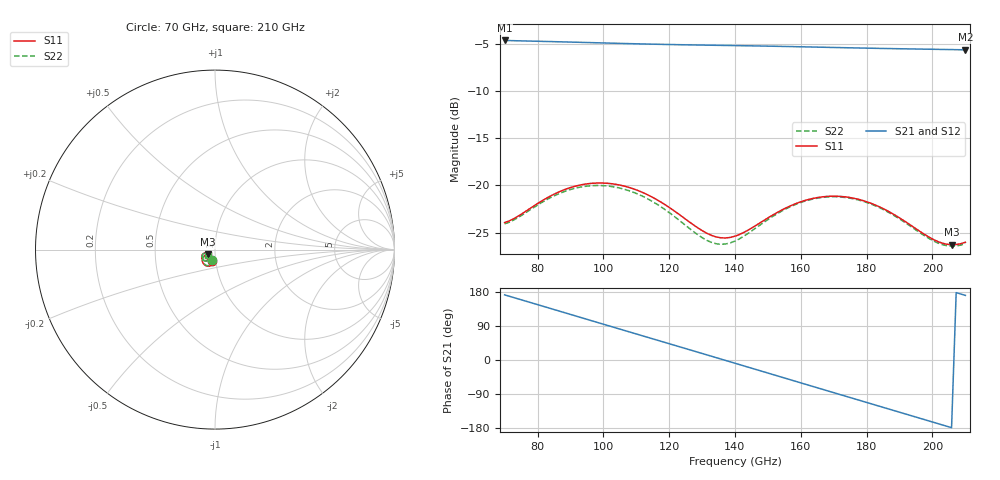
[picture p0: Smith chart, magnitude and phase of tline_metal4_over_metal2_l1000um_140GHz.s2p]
#  GHZ S DB R 50
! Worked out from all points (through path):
!   101 points, 70 GHz to 210 GHz, reference 50 ohm
!   highest |S21| = -4.67 dB at 70 GHz (marker M1); lowest = -5.7 dB at 210 GHz (marker M2)
!   group delay of S21, straight-line fit = 7.17 ps
!   lowest |S11| = -26.3 dB at 205.8 GHz (marker M3), VSWR 1.10, Z = 46 - j2.4 ohm
!   |S11| at or under -10 dB: start of sweep to end of sweep
!   |S22| runs from -26.4 to -20.0 dB; largest |S21 - S12| = 6.7e-14
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70  -23.92 -105.3  -4.67 171.9  -4.67 171.9  -24.06 -105.2
81.2  -21.66 -99.8  -4.77 143.1  -4.77 143.1  -21.82 -100.0
88.2  -20.44 -106.4  -4.83 125.0  -4.83 125.0  -20.64 -106.8
93.8  -19.90 -114.1  -4.88 110.5  -4.88 110.5  -20.13 -114.6
99.4  -19.74 -122.6  -4.93 96.0  -4.93 96.0  -20.01 -123.2
105  -19.96 -131.1  -4.98 81.6  -4.98 81.6  -20.28 -131.8
110.6  -20.55 -138.9  -5.03 67.2  -5.03 67.2  -20.93 -139.7
117.6  -21.78 -146.4  -5.08 49.2  -5.08 49.2  -22.28 -147.1
124.6  -23.46 -149.1  -5.13 31.2  -5.13 31.2  -24.11 -149.2
131.6  -25.08 -144.0  -5.17 13.1  -5.17 13.1  -25.83 -142.5
135.8  -25.54 -137.4  -5.19 2.3  -5.19 2.3  -26.22 -134.5
140  -25.36 -130.4  -5.21 -8.6  -5.21 -8.6  -25.88 -126.7
151.2  -23.18 -123.8  -5.28 -37.6  -5.28 -37.6  -23.33 -120.8
158.2  -21.96 -128.3  -5.33 -55.7  -5.33 -55.7  -22.04 -126.1
163.8  -21.36 -134.3  -5.37 -70.2  -5.37 -70.2  -21.42 -132.6
169.4  -21.14 -141.2  -5.41 -84.7  -5.41 -84.7  -21.20 -139.9
175  -21.28 -148.1  -5.45 -99.1  -5.45 -99.1  -21.35 -147.2
180.6  -21.79 -154.5  -5.49 -113.6  -5.49 -113.6  -21.87 -153.8
187.6  -22.93 -160.3  -5.53 -131.6  -5.53 -131.6  -23.03 -159.8
197.4  -25.13 -159.7  -5.59 -156.9  -5.59 -156.9  -25.27 -159.4
205.8  -26.26 -147.7  -5.64 -178.6  -5.64 -178.6  -26.42 -147.3
210  -26.01 -140.5  -5.66 170.5  -5.66 170.5  -26.15 -140.2
